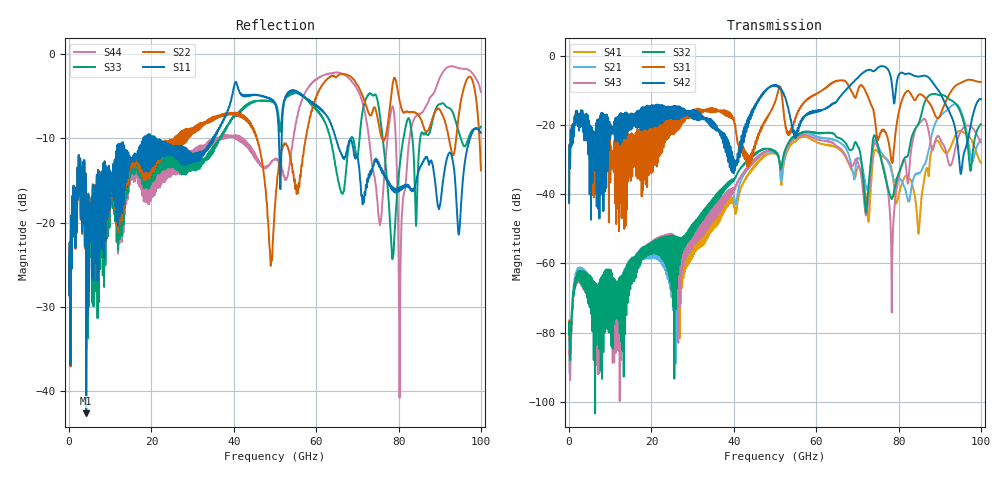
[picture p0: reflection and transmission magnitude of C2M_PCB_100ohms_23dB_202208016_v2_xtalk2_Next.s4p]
! Info: Touchstone file created by Circ.  Input file=Intel_C2M_200G_9p0in_202208016_staggered.circ
# Hz S RI R 50
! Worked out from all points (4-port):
!   10000 points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, 10 MHz to 100 GHz, reference 50 ohm
!   strongest paths, dB at 10 MHz, 25.01 GHz, 50.01 GHz, 75.01 GHz, 100 GHz:
!     S42: -42.4, -14.9, -8.5, -3.4, -12.6
!     S31: -42.6, -17.7, -13.3, -24.4, -7.7
!     S32: -80.5, -53.7, -27.9, -26.1, -19.8
!     S43: -84.9, -52.7, -28.0, -26.8, -25.0
!     S21: -81.6, -54.1, -28.1, -26.0, -24.2
!     S41: -83.9, -54.1, -28.3, -27.8, -30.9
!   lowest |S11| = -42.6 dB at 4.16 GHz (marker M1), VSWR 1.01, Z = 50.1 + j0.74 ohm
!   |S11| at or under -10 dB: start of sweep to 17.99 GHz; 20.96 GHz to 34.94 GHz (13.98 GHz wide, 50 % of centre); 64.71 GHz to 97.38 GHz (32.68 GHz wide, 40.3 % of centre)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
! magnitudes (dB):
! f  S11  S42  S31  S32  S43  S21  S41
! 10 MHz  -28.5  -42.4  -42.6  -80.5  -84.9  -81.6  -83.9
! 4.16 GHz  -42.6  -17.1  -18.7  -62.8  -65.3  -62.4  -64.5
! 56.37 GHz  -4.8  -19.3  -14.6  -22.4  -23.1  -22.5  -23.6
! 74.55 GHz  -12.5  -3.9  -21.2  -23.9  -25.4  -24.8  -27.2
! 78.42 GHz  -16.1  -8.4  -30.8  -41.3  -63.9  -34.1  -33.4
! 85.02 GHz  -13.7  -6.0  -11.2  -19.2  -19.6  -33.9  -49.2
! 100 GHz  -9.4  -12.6  -7.7  -19.8  -25.0  -24.2  -30.9
